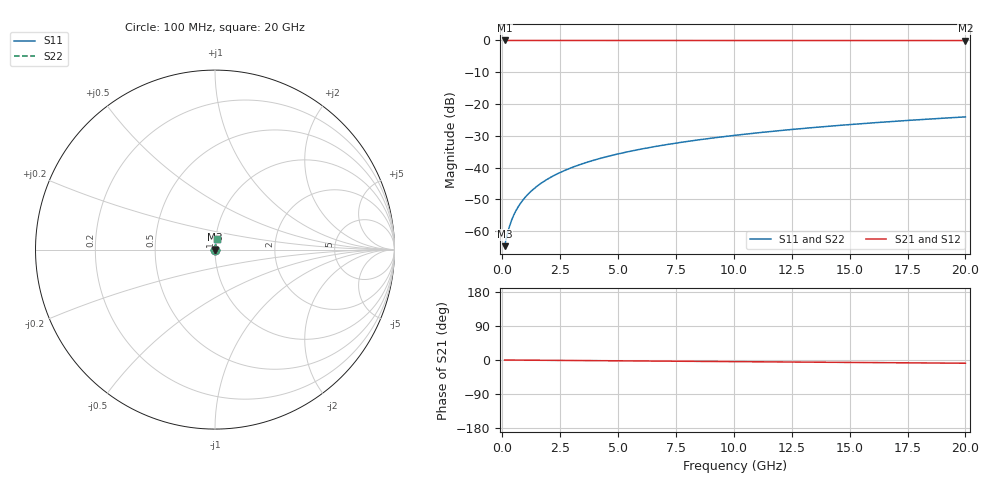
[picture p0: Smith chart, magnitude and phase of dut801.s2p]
! Touchstone file exported from HFSS 2026.1.0
!  File:  C:/ffzhzh/LocalFiles/Ansys_Project_Files/temp_train_TSV_801_1783184085_18472.aedt
!  Generated:  12:56:50 AM Jul  5, 2026
!  Design:  TSV
!  Project:  temp_train_TSV_801_1783184085_18472
! Variables:
!  h_bsmrdl = 2um
!  h_ox = 20um
!  h_rdl = 5um
!  h_sub = 77.14um
!  h_tmrdl = 5um
!  h_tsv = 77.14um
!  h_via = 3um
!  l_bsmrdl = 300um
!  l_sub = 409.06um
!  l_tmrdl = 200um
!  m_sub = 200um
!  pitch = 35.63um
!  r_tsv = 4.53um
!  s_tmrdl = 10um
!  w_bsmrdl = 18um
!  w_sub = 500um
!  w_tmrdl = 12um
!  x_tsv_center1 = 206um
!  x_tsv_center2 = 524um
!  x_tsv_center3 = 736um
!  x_tsv_center4 = 1054um
!  x_tsv_center5 = 1266um
!  x_tsv_center6 = 1584um
# GHz S MA R 50.000000
! Terminal data exported
! Port[1] = TSV1_1_T1
! Port[2] = TSV1_1_T2
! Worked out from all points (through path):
!   200 points, 100 MHz to 20 GHz, reference 50 ohm
!   highest |S21| = 0.00 dB at 100 MHz (marker M1); lowest = 0.0 dB at 20 GHz (marker M2)
!   group delay of S21, straight-line fit = 1.18 ps
!   lowest |S11| = -64.7 dB at 100 MHz (marker M3), VSWR 1.00, Z = 50 + j0.0356 ohm
!   |S11| at or under -10 dB: start of sweep to end of sweep
!   |S22| runs from -64.7 to -24.0 dB; largest |S21 - S12| = 3.1e-15
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0.1  0.0005831 37.6  0.9995 -0.0  0.9995 -0.0  0.0005831 37.6
! Gamma 0 0 0 0
! Port Impedance 50 0 50 0
0.2  0.000852 56.2  0.9995 -0.1  0.9995 -0.1  0.000852 56.2
0.3  0.001163 65.1  0.9995 -0.1  0.9995 -0.1  0.001163 65.1
0.4  0.001486 70.1  0.9995 -0.2  0.9995 -0.2  0.001486 70.1
0.5  0.001812 73.2  0.9995 -0.2  0.9995 -0.2  0.001812 73.2
0.6  0.00214 75.4  0.9995 -0.3  0.9995 -0.3  0.00214 75.4
0.8  0.002797 78.2  0.9994 -0.4  0.9994 -0.4  0.002797 78.2
1.1  0.003786 80.6  0.9994 -0.5  0.9994 -0.5  0.003786 80.6
1.5  0.005108 82.3  0.9993 -0.7  0.9993 -0.7  0.005108 82.3
1.8  0.006098 83.0  0.9993 -0.8  0.9993 -0.8  0.006098 83.0
2.1  0.007087 83.4  0.9993 -0.9  0.9993 -0.9  0.007087 83.4
2.7  0.009053 83.9  0.9992 -1.2  0.9992 -1.2  0.009053 83.9
3.5  0.01165 84.1  0.999 -1.5  0.999 -1.5  0.01165 84.1
4.2  0.0139 84.1  0.9989 -1.8  0.9989 -1.8  0.0139 84.1
5  0.01645 84.0  0.9988 -2.2  0.9988 -2.2  0.01645 84.0
5.9  0.01929 83.8  0.9986 -2.5  0.9986 -2.5  0.01929 83.8
6.8  0.02212 83.6  0.9984 -2.9  0.9984 -2.9  0.02212 83.6
8.3  0.02681 83.3  0.9982 -3.6  0.9982 -3.6  0.02681 83.3
10.1  0.03241 82.8  0.9978 -4.3  0.9978 -4.3  0.03241 82.8
13.4  0.04262 81.8  0.9972 -5.7  0.9972 -5.7  0.04262 81.8
16.7  0.05278 80.6  0.9965 -7.1  0.9965 -7.1  0.05278 80.6
20  0.06285 79.4  0.9957 -8.5  0.9957 -8.5  0.06285 79.4
